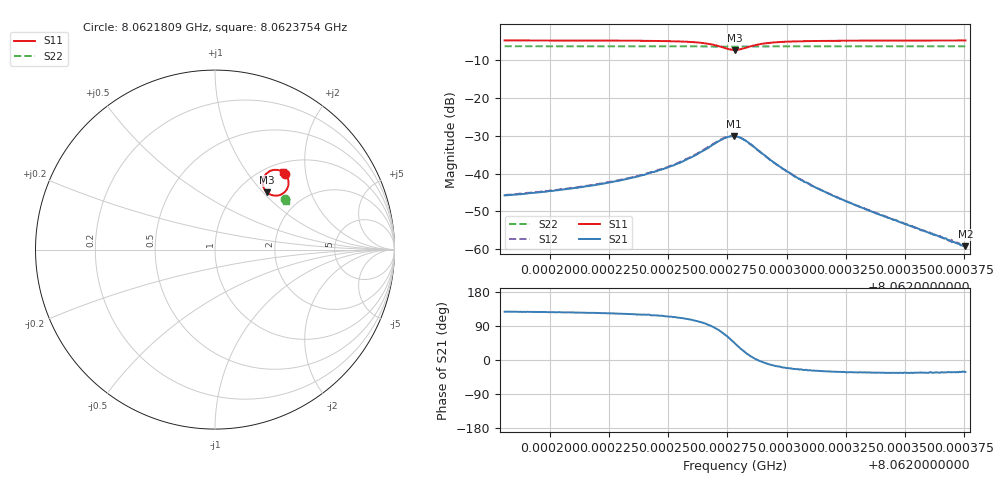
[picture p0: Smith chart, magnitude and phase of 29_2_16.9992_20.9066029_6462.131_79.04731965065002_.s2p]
#  HZ  S  RI  R  50.00
! Rohde & Schwarz Vector Network Analyzer
! Rohde-Schwarz,ZNB20-2Port,1311601062101988,3.16
! Created: UTC 3/20/2024, 10:53:19 PM
! freq[Hz]  re:S11  im:S11  re:S21  im:S21  re:S12  im:S12  re:S22  im:S22
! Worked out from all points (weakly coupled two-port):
!   401 points, 8.0621809 GHz to 8.0623754 GHz, reference 50 ohm
!   highest |S21| = -30.13 dB at 8.0622777 GHz (marker M1); lowest = -59.2 dB at 8.0623754 GHz (marker M2)
!   lowest |S11| = -7.3 dB at 8.0622782 GHz (marker M3), VSWR 2.51, Z = 67 + j52.5 ohm
!   |S11| at or under -10 dB: nowhere
!   |S22| runs from -6.5 to -6.3 dB; largest |S21 - S12| = 0.0028
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8.06218092e9  0.3905 0.4222  -0.00312 0.00408  -0.00293 0.00433  0.3922 0.2806
8.06219454e9  0.3928 0.4196  -0.00335 0.00448  -0.00311 0.00477  0.3926 0.2798
8.0622135e9  0.3965 0.4147  -0.00379 0.00542  -0.00352 0.00572  0.3935 0.2787
8.06223003e9  0.4011 0.4074  -0.00433 0.0069  -0.00399 0.00728  0.3938 0.2776
8.06224608e9  0.4069 0.3935  -0.00501 0.00986  -0.00448 0.0103  0.3944 0.2762
8.06225581e9  0.4099 0.3763  -0.00509 0.0133  -0.00416 0.014  0.3945 0.2749
8.06226115e9  0.4089 0.36  -0.00414 0.0167  -0.00314 0.0174  0.3945 0.2739
8.06226699e9  0.3981 0.333  -0.00107 0.0219  0.000518 0.0226  0.3937 0.2728
8.06227331e9  0.3515 0.3016  0.00977 0.0271  0.0122 0.0268  0.3914 0.272
8.06227574e9  0.3196 0.3027  0.0164 0.026  0.0189 0.0247  0.3903 0.2725
8.06227769e9  0.2943 0.3148  0.0214 0.0227  0.0235 0.0208  0.3895 0.2732
8.06227817e9  0.2887 0.3195  0.0225 0.0214  0.0244 0.0195  0.3894 0.2736
8.06228012e9  0.2722 0.3424  0.0253 0.0161  0.0267 0.014  0.3893 0.2748
8.06228255e9  0.2655 0.374  0.0258 0.00927  0.0263 0.00725  0.3896 0.276
8.06228595e9  0.2751 0.4085  0.0227 0.00218  0.0227 0.000545  0.3906 0.277
8.06228984e9  0.294 0.4299  0.0181 -0.00175  0.0178 -0.00303  0.3917 0.2774
8.06229908e9  0.3285 0.4442  0.0105 -0.00379  0.0103 -0.00445  0.3938 0.2769
8.06230394e9  0.3395 0.4447  0.00821 -0.00363  0.00801 -0.00414  0.3943 0.2766
8.06231075e9  0.3502 0.4437  0.00609 -0.00323  0.00589 -0.00359  0.3948 0.2759
8.06232583e9  0.3633 0.4401  0.00355 -0.00224  0.00344 -0.00244  0.3957 0.2751
8.06234333e9  0.3715 0.4365  0.00215 -0.00143  0.00207 -0.00157  0.3966 0.274
8.06237542e9  0.3794 0.4317  0.000933 -0.000572  0.000914 -0.000609  0.3977 0.2722
